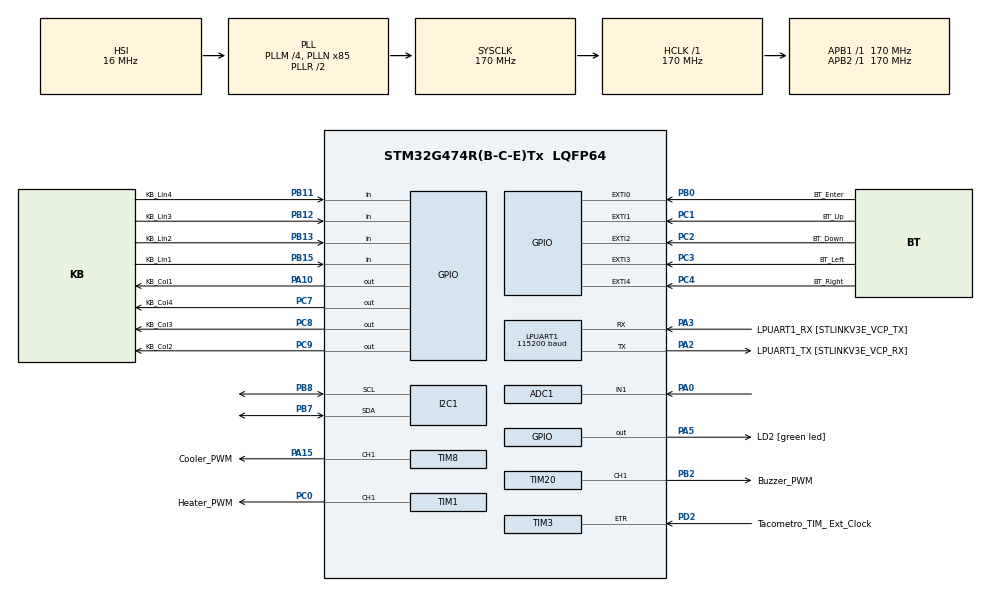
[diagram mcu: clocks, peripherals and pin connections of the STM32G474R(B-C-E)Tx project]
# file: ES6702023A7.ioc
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ADC1.Channel-1\#ChannelRegularConversion=ADC_CHANNEL_1
ADC1.ClockPrescaler=ADC_CLOCK_ASYNC_DIV64
ADC1.ContinuousConvMode=ENABLE
ADC1.DMAContinuousRequests=ENABLE
ADC1.NbrOfConversion=1
ADC1.NbrOfConversionFlag=1
ADC1.OffsetNumber-1\#ChannelRegularConversion=ADC_OFFSET_NONE
ADC1.OversamplingMode=ENABLE
ADC1.Rank-1\#ChannelRegularConversion=1
ADC1.Ratio=ADC_OVERSAMPLING_RATIO_16
ADC1.RightBitShift=ADC_RIGHTBITSHIFT_4
ADC1.SamplingTime-1\#ChannelRegularConversion=ADC_SAMPLETIME_2CYCLES_5
ADC1.master=1
Dma.ADC1.0.Direction=DMA_PERIPH_TO_MEMORY
Dma.ADC1.0.EventEnable=DISABLE
Dma.ADC1.0.Instance=DMA1_Channel1
Dma.ADC1.0.MemDataAlignment=DMA_MDATAALIGN_HALFWORD
Dma.ADC1.0.MemInc=DMA_MINC_ENABLE
Dma.ADC1.0.Mode=DMA_CIRCULAR
Dma.ADC1.0.PeriphDataAlignment=DMA_PDATAALIGN_HALFWORD
Dma.ADC1.0.PeriphInc=DMA_PINC_DISABLE
Dma.ADC1.0.Polarity=HAL_DMAMUX_REQ_GEN_RISING
Dma.ADC1.0.Priority=DMA_PRIORITY_LOW
Dma.ADC1.0.RequestNumber=1
Dma.ADC1.0.SignalID=NONE
Dma.ADC1.0.SyncEnable=DISABLE
Dma.ADC1.0.SyncPolarity=HAL_DMAMUX_SYNC_NO_EVENT
Dma.ADC1.0.SyncRequestNumber=1
Dma.ADC1.0.SyncSignalID=NONE
Dma.Request0=ADC1
I2C1.Timing=0x30A0A7FB
LPUART1.BaudRate=115200
LPUART1.FIFOMode=UART_FIFOMODE_ENABLE
LPUART1.WordLength=UART_WORDLENGTH_8B
Mcu.Family=STM32G4
Mcu.Name=STM32G474R(B-C-E)Tx
Mcu.Package=LQFP64
NVIC.ADC1_2_IRQn=true\:0\:0\:false\:false\:true\:true\:true\:true
NVIC.DMA1_Channel1_IRQn=true\:0\:0\:false\:false\:true\:false\:true\:true
NVIC.EXTI0_IRQn=true\:0\:0\:false\:false\:true\:true\:true\:true
NVIC.EXTI1_IRQn=true\:0\:0\:false\:false\:true\:true\:true\:true
NVIC.EXTI2_IRQn=true\:0\:0\:false\:false\:true\:true\:true\:true
NVIC.EXTI3_IRQn=true\:0\:0\:false\:false\:true\:true\:true\:true
NVIC.EXTI4_IRQn=true\:0\:0\:false\:false\:true\:true\:true\:true
NVIC.I2C1_ER_IRQn=true\:0\:0\:false\:false\:true\:true\:true\:true
NVIC.I2C1_EV_IRQn=true\:0\:0\:false\:false\:true\:true\:true\:true
NVIC.LPUART1_IRQn=true\:0\:0\:false\:false\:true\:true\:true\:true
NVIC.PriorityGroup=NVIC_PRIORITYGROUP_4
NVIC.TIM1_UP_TIM16_IRQn=true\:0\:0\:false\:false\:true\:true\:true\:true
NVIC.TIM4_IRQn=true\:0\:0\:false\:false\:true\:true\:true\:true
NVIC.TIM5_IRQn=true\:0\:0\:false\:false\:true\:true\:true\:true
NVIC.TIM6_DAC_IRQn=true\:0\:0\:false\:false\:true\:true\:true\:true
NVIC.TIM7_DAC_IRQn=true\:0\:0\:false\:false\:true\:true\:true\:true
PA0.Mode=IN1-Single-Ended
PA0.Signal=ADC1_IN1
PA10.GPIO_Label=KB_Col1
PA10.Signal=GPIO_Output
PA13.GPIO_Label=T_SWDIO
PA13.Mode=Serial_Wire
PA13.Signal=SYS_JTMS-SWDIO
PA14.GPIO_Label=T_SWCLK
PA14.Mode=Serial_Wire
PA14.Signal=SYS_JTCK-SWCLK
PA15.GPIO_Label=Cooler_PWM
PA15.Signal=S_TIM8_CH1
PA2.GPIO_Label=LPUART1_TX [STLINKV3E_VCP_RX]
PA2.Mode=Asynchronous
PA2.Signal=LPUART1_TX
PA3.GPIO_Label=LPUART1_RX [STLINKV3E_VCP_TX]
PA3.Mode=Asynchronous
PA3.Signal=LPUART1_RX
PA5.GPIO_Label=LD2 [green led]
PA5.Signal=GPIO_Output
PB0.GPIO_Label=BT_Enter
PB0.GPIO_ModeDefaultEXTI=GPIO_MODE_IT_RISING_FALLING
PB0.Signal=GPXTI0
PB11.GPIO_Label=KB_Lin4
PB11.Signal=GPIO_Input
PB12.GPIO_Label=KB_Lin3
PB12.Signal=GPIO_Input
PB13.GPIO_Label=KB_Lin2
PB13.Signal=GPIO_Input
PB15.GPIO_Label=KB_Lin1
PB15.Signal=GPIO_Input
PB2.GPIO_Label=Buzzer_PWM
PB2.Mode=PWM Generation1 CH1
PB2.Signal=TIM20_CH1
PB3.GPIO_Label=T_SWO
PB3.Signal=SYS_JTDO-SWO
PB7.Mode=I2C
PB7.Signal=I2C1_SDA
PB8-BOOT0.Mode=I2C
PB8-BOOT0.Signal=I2C1_SCL
PC0.GPIO_Label=Heater_PWM
PC0.Signal=S_TIM1_CH1
PC1.GPIO_Label=BT_Up
PC1.GPIO_ModeDefaultEXTI=GPIO_MODE_IT_RISING_FALLING
PC1.Signal=GPXTI1
PC14-OSC32_IN.Mode=LSE-External-Oscillator
PC14-OSC32_IN.Signal=RCC_OSC32_IN
PC15-OSC32_OUT.Mode=LSE-External-Oscillator
PC15-OSC32_OUT.Signal=RCC_OSC32_OUT
PC2.GPIO_Label=BT_Down
PC2.GPIO_ModeDefaultEXTI=GPIO_MODE_IT_RISING_FALLING
PC2.Signal=GPXTI2
PC3.GPIO_Label=BT_Left
PC3.GPIO_ModeDefaultEXTI=GPIO_MODE_IT_RISING_FALLING
PC3.Signal=GPXTI3
PC4.GPIO_Label=BT_Right
PC4.GPIO_ModeDefaultEXTI=GPIO_MODE_IT_RISING_FALLING
PC4.Signal=GPXTI4
PC7.GPIO_Label=KB_Col4
PC7.Signal=GPIO_Output
PC8.GPIO_Label=KB_Col3
PC8.Signal=GPIO_Output
PC9.GPIO_Label=KB_Col2
PC9.Signal=GPIO_Output
PD2.GPIO_Label=Tacometro_TIM_ Ext_Clock
PD2.Signal=S_TIM3_ETR
PF0-OSC_IN.Mode=HSE-External-Oscillator
PF0-OSC_IN.Signal=RCC_OSC_IN
PF1-OSC_OUT.Mode=HSE-External-Oscillator
PF1-OSC_OUT.Signal=RCC_OSC_OUT
ProjectManager.HeapSize=0x200
ProjectManager.StackSize=0x400
ProjectManager.TargetToolchain=STM32CubeIDE
RCC.ADC12Freq_Value=170000000
RCC.ADC345Freq_Value=170000000
RCC.AHBFreq_Value=170000000
RCC.APB1Freq_Value=170000000
RCC.APB1TimFreq_Value=170000000
RCC.APB2Freq_Value=170000000
RCC.APB2TimFreq_Value=170000000
RCC.CortexFreq_Value=170000000
RCC.EXTERNAL_CLOCK_VALUE=12288000
RCC.HCLKFreq_Value=170000000
RCC.HSE_VALUE=24000000
RCC.HSI48_VALUE=48000000
RCC.HSI_VALUE=16000000
RCC.PLLM=RCC_PLLM_DIV4
RCC.PLLN=85
RCC.RTCClockSelection=RCC_RTCCLKSOURCE_LSE
RCC.SYSCLKFreq_VALUE=170000000
RCC.SYSCLKSource=RCC_SYSCLKSOURCE_PLLCLK
RCC.USBFreq_Value=170000000
RCC.VCOOutputFreq_Value=340000000
SH.S_TIM1_CH1.0=TIM1_CH1,PWM Generation1 CH1
SH.S_TIM3_ETR.0=TIM3_ETR,ClockSourceETR_Mode2
SH.S_TIM8_CH1.0=TIM8_CH1,PWM Generation1 CH1
TIM1.AutoReloadPreload=TIM_AUTORELOAD_PRELOAD_DISABLE
TIM1.Channel-PWM\ Generation1\ CH1=TIM_CHANNEL_1
TIM1.PeriodNoDither=1000-1
TIM1.Prescaler=170-1
TIM16.PeriodNoDither=10000-1
TIM16.Prescaler=170-1
TIM20.AutoReloadPreload=TIM_AUTORELOAD_PRELOAD_DISABLE
TIM20.Channel-PWM\ Generation1\ CH1=TIM_CHANNEL_1
TIM20.PeriodNoDither=1000-1
TIM20.Prescaler=170-1
TIM3.Prescaler=1-1
TIM4.PeriodNoDither=5000-1
TIM4.Prescaler=17000-1
TIM5.PeriodNoDither=10000-1
TIM5.Prescaler=170-1
TIM6.PeriodNoDither=10000-1
TIM6.Prescaler=170-1
TIM7.PeriodNoDither=10000-1
TIM7.Prescaler=170-1
TIM8.AutoReloadPreload=TIM_AUTORELOAD_PRELOAD_DISABLE
TIM8.Channel-PWM\ Generation1\ CH1=TIM_CHANNEL_1
TIM8.PeriodNoDither=1000-1
TIM8.Prescaler=170-1
VP_SYS_VS_DBSignals.Mode=DisableDeadBatterySignals
VP_TIM16_VS_ClockSourceINT.Mode=Enable_Timer
VP_TIM1_VS_ClockSourceINT.Mode=Internal
VP_TIM20_VS_ClockSourceINT.Mode=Internal
VP_TIM4_VS_ClockSourceINT.Mode=Internal
VP_TIM5_VS_ClockSourceINT.Mode=Internal
VP_TIM6_VS_ClockSourceINT.Mode=Enable_Timer
VP_TIM7_VS_ClockSourceINT.Mode=Enable_Timer
VP_TIM7_VS_OPM.Mode=OPM_bit
VP_TIM8_VS_ClockSourceINT.Mode=Internal
board=NUCLEO-G474RE

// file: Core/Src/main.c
/* USER CODE BEGIN Header */
/**
  ******************************************************************************
  * @file           : main.c
  * @brief          : Main program body
  ******************************************************************************
  * @attention
  *
  * Copyright (c) 2023 STMicroelectronics.
  * All rights reserved.
  *
  * This software is licensed under terms that can be found in the LICENSE file
  * in the root directory of this software component.
  * If no LICENSE file comes with this software, it is provided AS-IS.
  *
  ******************************************************************************
  */
/* USER CODE END Header */
#include "main.h"
#include "adc.h"
#include "dma.h"
#include "i2c.h"
#include "usart.h"
#include "tim.h"
#include "gpio.h"

/* USER CODE BEGIN Includes */
#include "lcd.h"
#include <stdio.h>
#include <string.h>
/* USER CODE END Includes */

/* USER CODE BEGIN PV */
extern screens xScreen;
extern screens xActualScreen;
extern TIM_HandleTypeDef *pTimerMatrixKeyboard;
extern TIM_HandleTypeDef *pTimDebouncer;
extern TIM_HandleTypeDef *pTimPressedTime;
extern TIM_HandleTypeDef *pCounterBuzzer;
extern TIM_HandleTypeDef *pBuzzer;
extern TIM_HandleTypeDef *pTachometerWindow;
extern TIM_HandleTypeDef *pTachometer;
extern unsigned int  uiCounterButtons[5]; //Time counter for each button, remember that each button is associated to a number (Enter = 0, Up = 1 ...)
extern ADC_HandleTypeDef hadc1;
extern char cFlagLongPressTimer;
extern float fSetPointTemperature;
extern unsigned char ucData;
unsigned int ui1sCounter = 0;
extern char cBackLight;
float Kp = 600;
float Ki = 1;
float Kd = 1;
unsigned char ucLcdAddress = 0x27;
extern float fHeaterPWMDutyCycle;
extern float fCoolerPWMDutyCycle;
extern unsigned short int usCoolerSpeed;
extern uint16_t usTemperature;
float fCurrentTemperature;

/* USER CODE END PV */

void SystemClock_Config(void);
/* USER CODE BEGIN PFP */
void vInitButtons(void);
void vInitLed(void);

/* USER CODE END PFP */

int main(void)
{

  /* MCU Configuration--------------------------------------------------------*/

  /* Reset of all peripherals, Initializes the Flash interface and the Systick. */
  HAL_Init();

  /* Configure the system clock */
  SystemClock_Config();

  /* Initialize all configured peripherals */
  MX_GPIO_Init();
  MX_DMA_Init();
  MX_LPUART1_UART_Init();
  MX_TIM6_Init();
  MX_TIM7_Init();
  MX_TIM16_Init();
  MX_I2C1_Init();
  MX_TIM1_Init();
  MX_TIM3_Init();
  MX_TIM5_Init();
  MX_TIM8_Init();
  MX_TIM20_Init();
  MX_TIM4_Init();
  MX_ADC1_Init();
  /* USER CODE BEGIN 2 */
  vButtonsInit();
  //vMatrixKeyboardInit(&htim6);
  vButtonsEventsInit(&htim7, &htim16);
  vHeaterAndCoolerCoolerInit(&htim8);
  vHeaterAndCoolerHeaterInit(&htim1);
  //vBuzzerConfig(1000, 100, &htim20);
  vTachometerInit(&htim4,500);
  vTemperatureSensorInit(&hadc1);
  vPidInit(Kp, Ki, Kd, 100, 100);
  HAL_UART_Receive_IT(&hlpuart1, (uint8_t*)&ucData, 1);
  vLcdInitLcd(&hi2c1,ucLcdAddress);
  /* USER CODE END 2 */

  /* Infinite loop */
  while (1)
  {

    /* USER CODE BEGIN 3 */

	  //Updates the screen every 100ms or
	  //if the screen have been changed by a button
	  if(xActualScreen != xScreen || !(ui1sCounter%100)){
		  xActualScreen = xScreen;
		  vLcdUpdateScreen(xActualScreen);
	  }

  }
  /* USER CODE END 3 */
}

void SystemClock_Config(void)
{
  RCC_OscInitTypeDef RCC_OscInitStruct = {0};
  RCC_ClkInitTypeDef RCC_ClkInitStruct = {0};

  /** Configure the main internal regulator output voltage
  */
  HAL_PWREx_ControlVoltageScaling(PWR_REGULATOR_VOLTAGE_SCALE1_BOOST);

  /** Initializes the RCC Oscillators according to the specified parameters
  * in the RCC_OscInitTypeDef structure.
  */
  RCC_OscInitStruct.OscillatorType = RCC_OSCILLATORTYPE_HSI;
  RCC_OscInitStruct.HSIState = RCC_HSI_ON;
  RCC_OscInitStruct.HSICalibrationValue = RCC_HSICALIBRATION_DEFAULT;
  RCC_OscInitStruct.PLL.PLLState = RCC_PLL_ON;
  RCC_OscInitStruct.PLL.PLLSource = RCC_PLLSOURCE_HSI;
  RCC_OscInitStruct.PLL.PLLM = RCC_PLLM_DIV4;
  RCC_OscInitStruct.PLL.PLLN = 85;
  RCC_OscInitStruct.PLL.PLLP = RCC_PLLP_DIV2;
  RCC_OscInitStruct.PLL.PLLQ = RCC_PLLQ_DIV2;
  RCC_OscInitStruct.PLL.PLLR = RCC_PLLR_DIV2;
  if (HAL_RCC_OscConfig(&RCC_OscInitStruct) != HAL_OK)
  {
    Error_Handler();
  }

  /** Initializes the CPU, AHB and APB buses clocks
  */
  RCC_ClkInitStruct.ClockType = RCC_CLOCKTYPE_HCLK|RCC_CLOCKTYPE_SYSCLK
                              |RCC_CLOCKTYPE_PCLK1|RCC_CLOCKTYPE_PCLK2;
  RCC_ClkInitStruct.SYSCLKSource = RCC_SYSCLKSOURCE_PLLCLK;
  RCC_ClkInitStruct.AHBCLKDivider = RCC_SYSCLK_DIV1;
  RCC_ClkInitStruct.APB1CLKDivider = RCC_HCLK_DIV1;
  RCC_ClkInitStruct.APB2CLKDivider = RCC_HCLK_DIV1;

  if (HAL_RCC_ClockConfig(&RCC_ClkInitStruct, FLASH_LATENCY_4) != HAL_OK)
  {
    Error_Handler();
  }
}

/* USER CODE BEGIN 4 */

/* ***************************************************************** */
/* Method name:        HAL_TIM_PeriodElapsedCallback                 */
/* Method description: Call each callback related to the tim that    */
/*                     called the general callback                   */
/* Input params:       TIM_HandleTypeDef* htim: generic tim handler  */
/* Output params:                                                    */
/* ***************************************************************** */
void HAL_TIM_PeriodElapsedCallback(TIM_HandleTypeDef *htim) {
//	char sLogTemp[10] = {0};
//	int iSize = 1;
//	if(htim == pTimerMatrixKeyboard){
//		//vMatrixKeyboardPeriodElapsedCallback();
//		ui1sCounter ++;
//		if(!(ui1sCounter%10)){
//			vPIDPeriodicControlTask();
//			strcat(sLogTemp,vFtoa(fTemperatureSensorGetTemperature(),'0'));
//			strcat(sLogTemp,"\n\r\0");
//			while(sLogTemp[iSize] != '\0'){
//				iSize ++;
//			}
//			//HAL_UART_Transmit_IT(&hlpuart1, (uint8_t*)sLogTemp, (uint16_t)iSize);
//		}
//	}
//	else
	if(htim == pTachometerWindow) {
		vTachometerUpdate();
		pTachometer->Instance->CNT = 0;
	}
	else {
		//pTimerButtonsEventsDebouncing = Pointer that holds the handler TIM7 address (&htim7)
		// Utilized by ButtonsEvents library
		if(htim == pTimDebouncer){
			vButtonsEventsDebouncingPeriodElapsedCallback();
		} else if(htim == pTimPressedTime) {
			//pTimerButtonsEventsLongPress = Pointer that holds the handler TIM16 address (&htim16)
			// Utilized by ButtonsEvents library
			vButtonsEventsLongPressPeriodElapsedCallback();
		}
	}

}

/* ***************************************************************** */
/* Method name:        vButtonsEventsCallbackPressedEvent            */
/* Method description: Calls change screen function                  */
/* Input params:  xBt buttons                                        */
/* Output params:                                                    */
/* ***************************************************************** */
void vButtonsEventCallbackPressedEvent(buttons xBt){
	vButtonsEventChangeScreen(xBt);
}

/* ***************************************************************** */
/* Method name:        vButtonsEventsCallbackReleasedEvent           */
/* Method description: Stop pressed timer and reset its flag         */
/* Input params:  xBt buttons                                        */
/* Output params:                                                    */
/* ***************************************************************** */
void vButtonsEventCallbackReleasedEvent(buttons xBt){
	if(uiCounterButtons[0] == 0 && uiCounterButtons[1] == 0 && uiCounterButtons[2] == 0 && uiCounterButtons[3] == 0 && uiCounterButtons[4] == 0){
		//Verify if all counters are 0, therefore all buttons are released and turns off the timer
		HAL_TIM_Base_Stop_IT(pTimPressedTime);
		cFlagLongPressTimer = 0;
	}
}

/* ***************************************************************** */
/* Method name:        vButtonsEventsCallback500msPressedEvent       */
/* Method description: Calls Pressed event callback if the button is */
/*                     continusly pressed every 500ms                */
/* Input params:  xBt buttons                                        */
/* Output params:                                                    */
/* ***************************************************************** */
void vButtonsEventCallback500msPressedEvent(buttons xBt){
	vButtonsEventCallbackPressedEvent(xBt); // the events of 500 ms have the same effect as single press
}

/* ***************************************************************** */
/* Method name:        vPIDPeriodicControlTask                       */
/* Method description: Gets actual temperature, set point temperature*/
/*                     and calls the controller.                     */
/*                     Then takes the controller output and feed the */
/*                     actuator function                             */
/* Input params:                                                     */
/* Output params:                                                    */
/* ***************************************************************** */
void vPIDPeriodicControlTask(){
	float fSensorValue, fSetPoint, fActuatorValue;
	fSensorValue = fTemperatureSensorGetTemperature();
	fSetPoint = fPIDGetSetPointTemperature();
	fActuatorValue = fPidUpdateData(fSensorValue,fSetPoint);
	vPIDActuatorSetValue(fActuatorValue);
}

/* USER CODE END 4 */

void Error_Handler(void)
{
  __disable_irq();
  while (1)
  {
  }
}
